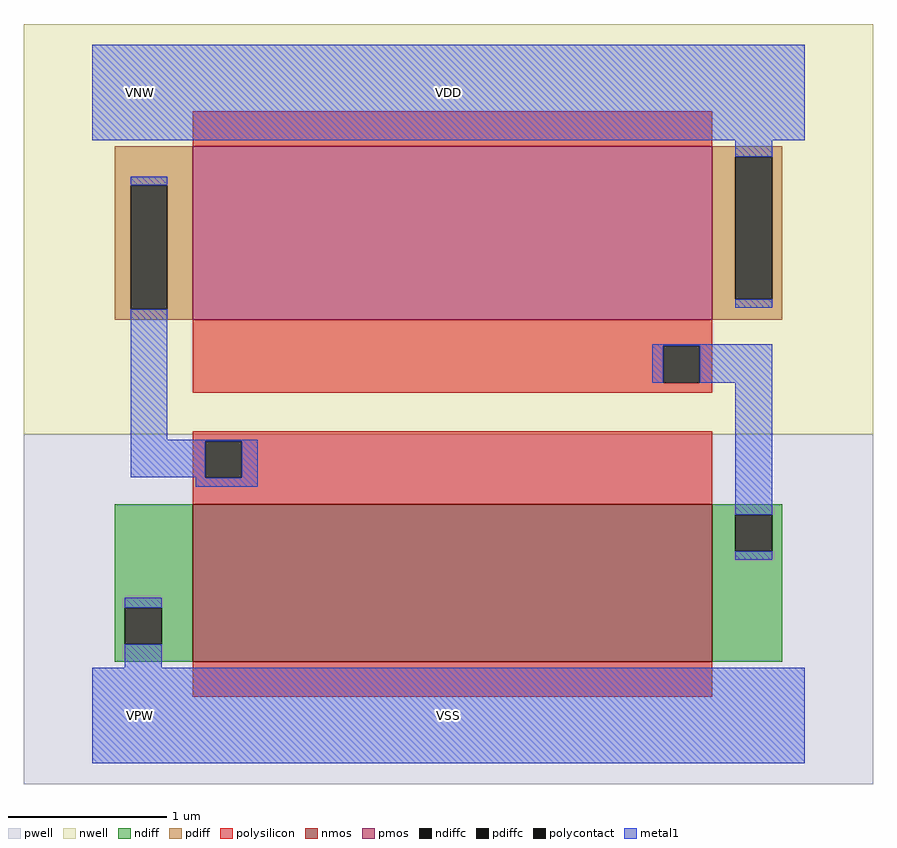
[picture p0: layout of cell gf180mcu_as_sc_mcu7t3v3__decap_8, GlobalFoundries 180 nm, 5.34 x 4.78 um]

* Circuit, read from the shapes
.subckt gf180mcu_as_sc_mcu7t3v3__decap_8 VDD VNW VPW VSS
XM1 n1 n2 VSS VPW nfet_03v3 w=0.99u l=3.27u
XM2 VDD n1 n2 VNW pfet_03v3 w=1.09u l=3.27u
.ends

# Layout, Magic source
magic
tech gf180mcuD
magscale 1 10
<< nwell >>
rect -86 354 982 870
<< pwell >>
rect -86 -86 982 354
<< nmos >>
rect 126 68 780 266
<< pmos >>
rect 126 498 780 716
<< ndiff >>
rect 28 136 126 266
rect 28 90 41 136
rect 87 90 126 136
rect 28 68 126 90
rect 780 253 868 266
rect 780 207 809 253
rect 855 207 868 253
rect 780 68 868 207
<< pdiff >>
rect 28 667 126 716
rect 28 511 48 667
rect 94 511 126 667
rect 28 498 126 511
rect 780 703 868 716
rect 780 524 809 703
rect 855 524 868 703
rect 780 498 868 524
<< ndiffc >>
rect 41 90 87 136
rect 809 207 855 253
<< pdiffc >>
rect 48 511 94 667
rect 809 524 855 703
<< polysilicon >>
rect 126 716 780 760
rect 126 465 780 498
rect 126 419 718 465
rect 764 419 780 465
rect 126 406 780 419
rect 126 345 780 358
rect 126 299 142 345
rect 188 299 780 345
rect 126 266 780 299
rect 126 24 780 68
<< polycontact >>
rect 718 419 764 465
rect 142 299 188 345
<< metal1 >>
rect 0 724 896 844
rect 809 703 855 724
rect 48 667 94 678
rect 809 513 855 524
rect 48 347 94 511
rect 704 465 855 467
rect 704 419 718 465
rect 764 419 855 465
rect 48 345 208 347
rect 48 300 142 345
rect 130 299 142 300
rect 188 299 208 345
rect 130 288 208 299
rect 809 253 855 419
rect 809 196 855 207
rect 41 136 87 148
rect 41 60 87 90
rect 0 -60 896 60
<< labels >>
flabel metal1 s 0 724 896 844 0 FreeSans 400 0 0 0 VDD
port 1 nsew power bidirectional abutment
flabel metal1 s 0 -60 896 60 0 FreeSans 400 0 0 0 VSS
port 4 nsew ground bidirectional abutment
flabel nwell s 10 734 110 834 0 FreeSans 400 0 0 0 VNW
port 2 nsew power bidirectional
flabel pwell s 10 -50 110 50 0 FreeSans 400 0 0 0 VPW
port 3 nsew ground bidirectional
<< properties >>
string FIXED_BBOX 0 0 896 784
string LEFclass CORE SPACER
string LEFsite unithd
string LEFsymmetry X Y
string MASKHINTS_NPLUS -86 -86 982 354
string MASKHINTS_PPLUS -86 354 982 870
<< end >>
